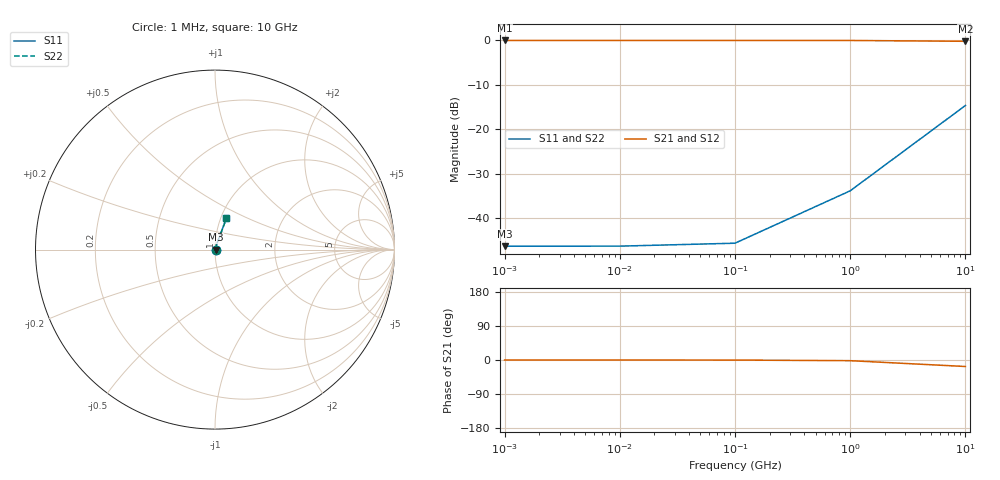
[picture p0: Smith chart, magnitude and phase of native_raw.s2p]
! Sonnet Data File
! From: em Version : 18.53-Lite
! From Project: project
! Data is NOT De-embedded
! Data File Written: 10/07/2026 08:52:37
!< HDATE 10/07/2026 08:52:37
!< MDATE 10/07/2026 08:52:37
# GHZ S RI R 50.00000
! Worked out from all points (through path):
!   5 points, 1 MHz to 10 GHz, reference 50 ohm
!   highest |S21| = -0.04 dB at 1 MHz (marker M1); lowest = -0.2 dB at 10 GHz (marker M2)
!   lowest |S11| = -46.3 dB at 1 MHz (marker M3), VSWR 1.01, Z = 50.5 + j0.00199 ohm
!   |S11| at or under -10 dB: start of sweep to end of sweep
!   |S22| runs from -46.3 to -14.7 dB; largest |S21 - S12| = 3.7e-13
0.001  0.00485 1.97e-05  0.9952 -3.1e-05  0.9952 -3.1e-05  0.00485 1.97e-05
0.01  0.00485 0.000196  0.9952 -0.000309  0.9952 -0.000309  0.00485 0.000196
0.1  0.00485 0.00196  0.9951 -0.00309  0.9951 -0.00309  0.00485 0.00196
1  0.0056 0.0195  0.9943 -0.0308  0.9943 -0.0308  0.0056 0.0195
10  0.0632 0.1735  0.9304 -0.2869  0.9304 -0.2869  0.0632 0.1735
